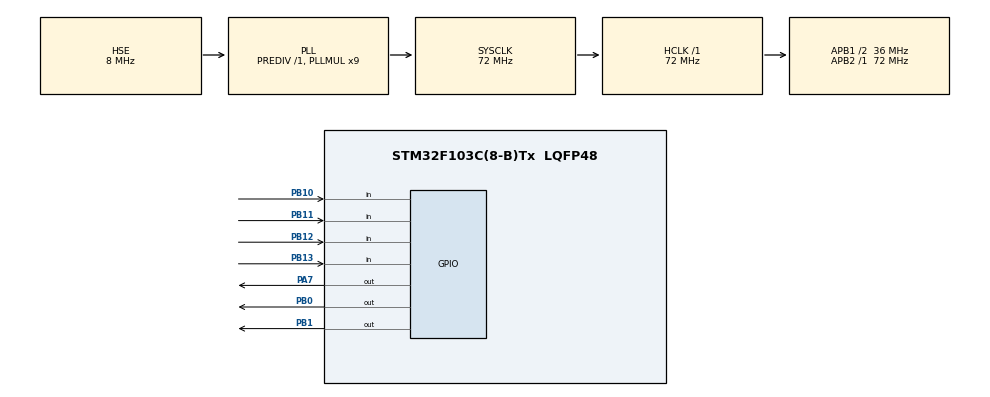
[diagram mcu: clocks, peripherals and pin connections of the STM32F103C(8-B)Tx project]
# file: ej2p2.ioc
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Mcu.Family=STM32F1
Mcu.Name=STM32F103C(8-B)Tx
Mcu.Package=LQFP48
NVIC.PriorityGroup=NVIC_PRIORITYGROUP_4
PA13.Mode=Serial_Wire
PA13.Signal=SYS_JTMS-SWDIO
PA14.Mode=Serial_Wire
PA14.Signal=SYS_JTCK-SWCLK
PA7.Signal=GPIO_Output
PB0.Signal=GPIO_Output
PB1.Signal=GPIO_Output
PB10.GPIO_PuPd=GPIO_PULLDOWN
PB10.Signal=GPIO_Input
PB11.GPIO_PuPd=GPIO_PULLDOWN
PB11.Signal=GPIO_Input
PB12.GPIO_PuPd=GPIO_PULLDOWN
PB12.Signal=GPIO_Input
PB13.GPIO_PuPd=GPIO_PULLDOWN
PB13.Signal=GPIO_Input
PD0-OSC_IN.Mode=HSE-External-Oscillator
PD0-OSC_IN.Signal=RCC_OSC_IN
PD1-OSC_OUT.Mode=HSE-External-Oscillator
PD1-OSC_OUT.Signal=RCC_OSC_OUT
ProjectManager.HeapSize=0x200
ProjectManager.StackSize=0x400
ProjectManager.TargetToolchain=STM32CubeIDE
RCC.AHBFreq_Value=72000000
RCC.APB1CLKDivider=RCC_HCLK_DIV2
RCC.APB1Freq_Value=36000000
RCC.APB1TimFreq_Value=72000000
RCC.APB2Freq_Value=72000000
RCC.APB2TimFreq_Value=72000000
RCC.HCLKFreq_Value=72000000
RCC.PLLMUL=RCC_PLL_MUL9
RCC.PLLSourceVirtual=RCC_PLLSOURCE_HSE
RCC.SYSCLKFreq_VALUE=72000000
RCC.SYSCLKSource=RCC_SYSCLKSOURCE_PLLCLK
RCC.USBFreq_Value=72000000
board=custom

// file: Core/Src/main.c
/* USER CODE BEGIN Header */
/**
  ******************************************************************************
  * @file           : main.c
  * @brief          : Main program body
  ******************************************************************************
  * @attention
  *
  * Copyright (c) 2024 STMicroelectronics.
  * All rights reserved.
  *
  * This software is licensed under terms that can be found in the LICENSE file
  * in the root directory of this software component.
  * If no LICENSE file comes with this software, it is provided AS-IS.
  *
  ******************************************************************************
  */
/* USER CODE END Header */
#include "main.h"

/* USER CODE BEGIN PTD */
typedef enum { espera, lectura, motorA,motorB,motorC }state_t;
typedef enum{tarjeta, push1 ,push2, push3, null, timeout}event_t;
/* USER CODE END PTD */

/* USER CODE BEGIN PD */

#define OFFSET_LONG 30000
#define OFFSET_SHORT 10000
/* USER CODE END PD */

/* USER CODE BEGIN PV */
int startick = 0;
int offset = OFFSET_LONG;
/* USER CODE END PV */

void SystemClock_Config(void);
static void MX_GPIO_Init(void);
/* USER CODE BEGIN PFP */
void fsm(state_t *estado,event_t evento);
/* USER CODE END PFP */

int main(void)
{
  /* USER CODE BEGIN 1 */
	uint8_t botones =0;
	 state_t estado = espera;
	  event_t evento = null;
  /* USER CODE END 1 */

  /* MCU Configuration--------------------------------------------------------*/

  /* Reset of all peripherals, Initializes the Flash interface and the Systick. */
  HAL_Init();

  /* Configure the system clock */
  SystemClock_Config();

  /* Initialize all configured peripherals */
  MX_GPIO_Init();

  /* Infinite loop */
  /* USER CODE BEGIN WHILE */
  while (1)
  {
	  botones = HAL_GPIO_ReadPin(GPIOB, GPIO_PIN_10) + 2*HAL_GPIO_ReadPin(GPIOB, GPIO_PIN_11) + 3*HAL_GPIO_ReadPin(GPIOB, GPIO_PIN_12) + 4*HAL_GPIO_ReadPin(GPIOB, GPIO_PIN_13);

	  switch(botones){
	  case 1:
		  evento = push1;
		  break;
	  case 2:
		  evento = push2;
		  break;
	  case 3:
		  evento = push3;
		  break;
	  case 4:
		  evento = tarjeta;
		  break;
	  default:
		  evento = null;
		  break;
	  }

	  if(startick + offset < HAL_GetTick()){
	  	evento = timeout;
	  }

	  fsm(&estado,evento);
    /* USER CODE END WHILE */

  }
}

void SystemClock_Config(void)
{
  RCC_OscInitTypeDef RCC_OscInitStruct = {0};
  RCC_ClkInitTypeDef RCC_ClkInitStruct = {0};

  /** Initializes the RCC Oscillators according to the specified parameters
  * in the RCC_OscInitTypeDef structure.
  */
  RCC_OscInitStruct.OscillatorType = RCC_OSCILLATORTYPE_HSE;
  RCC_OscInitStruct.HSEState = RCC_HSE_ON;
  RCC_OscInitStruct.HSEPredivValue = RCC_HSE_PREDIV_DIV1;
  RCC_OscInitStruct.HSIState = RCC_HSI_ON;
  RCC_OscInitStruct.PLL.PLLState = RCC_PLL_ON;
  RCC_OscInitStruct.PLL.PLLSource = RCC_PLLSOURCE_HSE;
  RCC_OscInitStruct.PLL.PLLMUL = RCC_PLL_MUL9;
  if (HAL_RCC_OscConfig(&RCC_OscInitStruct) != HAL_OK)
  {
    Error_Handler();
  }

  /** Initializes the CPU, AHB and APB buses clocks
  */
  RCC_ClkInitStruct.ClockType = RCC_CLOCKTYPE_HCLK|RCC_CLOCKTYPE_SYSCLK
                              |RCC_CLOCKTYPE_PCLK1|RCC_CLOCKTYPE_PCLK2;
  RCC_ClkInitStruct.SYSCLKSource = RCC_SYSCLKSOURCE_PLLCLK;
  RCC_ClkInitStruct.AHBCLKDivider = RCC_SYSCLK_DIV1;
  RCC_ClkInitStruct.APB1CLKDivider = RCC_HCLK_DIV2;
  RCC_ClkInitStruct.APB2CLKDivider = RCC_HCLK_DIV1;

  if (HAL_RCC_ClockConfig(&RCC_ClkInitStruct, FLASH_LATENCY_2) != HAL_OK)
  {
    Error_Handler();
  }
}

static void MX_GPIO_Init(void)
{
  GPIO_InitTypeDef GPIO_InitStruct = {0};

  /* GPIO Ports Clock Enable */
  __HAL_RCC_GPIOD_CLK_ENABLE();
  __HAL_RCC_GPIOA_CLK_ENABLE();
  __HAL_RCC_GPIOB_CLK_ENABLE();

  /*Configure GPIO pin Output Level */
  HAL_GPIO_WritePin(GPIOA, GPIO_PIN_7, GPIO_PIN_RESET);

  /*Configure GPIO pin Output Level */
  HAL_GPIO_WritePin(GPIOB, GPIO_PIN_0|GPIO_PIN_1, GPIO_PIN_RESET);

  /*Configure GPIO pin : PA7 */
  GPIO_InitStruct.Pin = GPIO_PIN_7;
  GPIO_InitStruct.Mode = GPIO_MODE_OUTPUT_PP;
  GPIO_InitStruct.Pull = GPIO_NOPULL;
  GPIO_InitStruct.Speed = GPIO_SPEED_FREQ_LOW;
  HAL_GPIO_Init(GPIOA, &GPIO_InitStruct);

  /*Configure GPIO pins : PB0 PB1 */
  GPIO_InitStruct.Pin = GPIO_PIN_0|GPIO_PIN_1;
  GPIO_InitStruct.Mode = GPIO_MODE_OUTPUT_PP;
  GPIO_InitStruct.Pull = GPIO_NOPULL;
  GPIO_InitStruct.Speed = GPIO_SPEED_FREQ_LOW;
  HAL_GPIO_Init(GPIOB, &GPIO_InitStruct);

  /*Configure GPIO pins : PB10 PB11 PB12 PB13 */
  GPIO_InitStruct.Pin = GPIO_PIN_10|GPIO_PIN_11|GPIO_PIN_12|GPIO_PIN_13;
  GPIO_InitStruct.Mode = GPIO_MODE_INPUT;
  GPIO_InitStruct.Pull = GPIO_PULLDOWN;
  HAL_GPIO_Init(GPIOB, &GPIO_InitStruct);

}

/* USER CODE BEGIN 4 */

void fsm(state_t *estado,event_t evento){
	switch(*estado){

	case espera:
		switch(evento){
		case tarjeta:
			*estado = lectura;
			startick = HAL_GetTick();
			offset = OFFSET_LONG;
			break;
		default:
			startick =HAL_GetTick();
			break;
		}
		break;

		case lectura:
			switch(evento){
			case timeout:
				*estado = espera;
				break;
			case push1:
				*estado = motorA;
				startick = HAL_GetTick();
				HAL_GPIO_WritePin(GPIOB, GPIO_PIN_0, GPIO_PIN_SET);
				offset = OFFSET_SHORT;
				break;
			case push2:
				*estado = motorB;
				startick = HAL_GetTick();
				HAL_GPIO_WritePin(GPIOB, GPIO_PIN_1, GPIO_PIN_SET);
				offset = OFFSET_SHORT;
				break;
			case push3:
				*estado = motorC;
				HAL_GPIO_WritePin(GPIOA, GPIO_PIN_7, GPIO_PIN_SET);
				startick = HAL_GetTick();
				offset = OFFSET_SHORT;
				break;
			default:
				break;
			}
		break;

		case motorA:
			switch(evento){
			case timeout:
				*estado = espera;
				HAL_GPIO_WritePin(GPIOB, GPIO_PIN_0, GPIO_PIN_RESET);
				break;
			default:
				break;
			}
			break;

			case motorB:
				switch(evento){
				case timeout:
					*estado = espera;
					HAL_GPIO_WritePin(GPIOB, GPIO_PIN_1, GPIO_PIN_RESET);
					break;
				default:
					break;
				}
				break;

				case motorC:
					switch(evento){
					case timeout:
						*estado = espera;
						HAL_GPIO_WritePin(GPIOA, GPIO_PIN_7, GPIO_PIN_RESET);
						break;
					default:
						break;
					}
					break;
	}
}
/* USER CODE END 4 */

void Error_Handler(void)
{
  __disable_irq();
  while (1)
  {
  }
}
